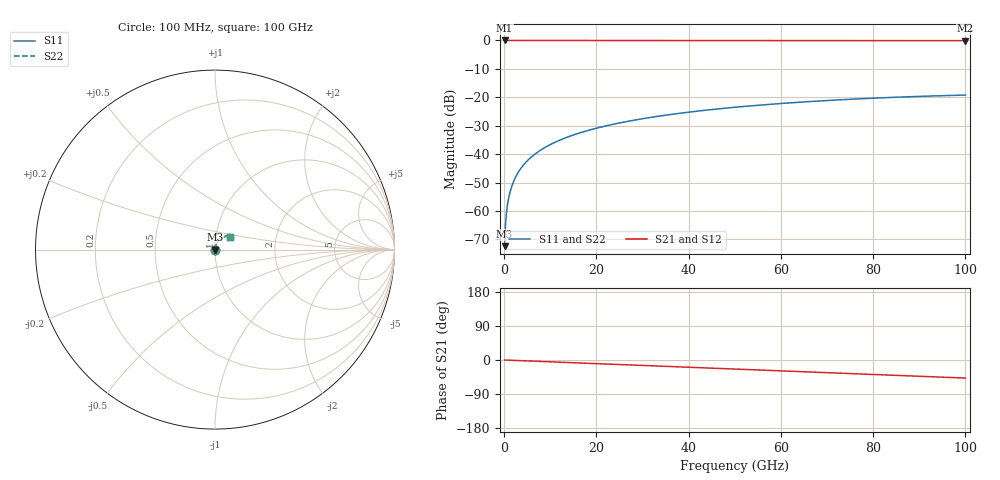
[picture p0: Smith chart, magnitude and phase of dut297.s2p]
! Touchstone file exported from HFSS 2026.1.0
!  File:  C:/ffzhzh/LocalFiles/Ansys_Project_Files/temp_train_TSV_297_1783509122_44152.aedt
!  Generated:  07:13:17 PM Jul  8, 2026
!  Design:  TSV
!  Project:  temp_train_TSV_297_1783509122_44152
! Variables:
!  h_bsmrdl = 2um
!  h_ox = 20um
!  h_rdl = 5um
!  h_sub = 95.15um
!  h_tmrdl = 5um
!  h_tsv = 95.15um
!  h_via = 3um
!  l_bsmrdl = 300um
!  l_sub = 419.72um
!  l_tmrdl = 200um
!  m_sub = 200um
!  pitch = 49.14um
!  r_tsv = 9.86um
!  s_tmrdl = 10um
!  w_bsmrdl = 18um
!  w_sub = 500um
!  w_tmrdl = 12um
!  x_tsv_center1 = 206um
!  x_tsv_center2 = 524um
!  x_tsv_center3 = 736um
!  x_tsv_center4 = 1054um
!  x_tsv_center5 = 1266um
!  x_tsv_center6 = 1584um
# GHz S MA R 50.000000
! Terminal data exported
! Port[1] = TSV1_1_T1
! Port[2] = TSV1_1_T2
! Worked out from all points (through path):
!   1000 points, 100 MHz to 100 GHz, reference 50 ohm
!   highest |S21| = 0.00 dB at 100 MHz (marker M1); lowest = -0.1 dB at 100 GHz (marker M2)
!   group delay of S21, straight-line fit = 1.32 ps
!   lowest |S11| = -72.3 dB at 100 MHz (marker M3), VSWR 1.00, Z = 50 + j0.0192 ohm
!   |S11| at or under -10 dB: start of sweep to end of sweep
!   |S22| runs from -72.3 to -19.2 dB; largest |S21 - S12| = 8.1e-15
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0.1  0.0002413 52.5  0.9999 -0.1  0.9999 -0.1  0.0002413 52.5
! Gamma 0 0 0 0
! Port Impedance 50 0 50 0
0.3  0.0005897 72.0  0.9998 -0.2  0.9998 -0.2  0.0005897 72.0
0.7  0.001259 77.1  0.9997 -0.3  0.9997 -0.3  0.001259 77.1
0.8  0.001417 77.7  0.9997 -0.4  0.9997 -0.4  0.001417 77.7
1  0.001727 78.6  0.9997 -0.5  0.9997 -0.5  0.001727 78.6
1.3  0.002186 79.5  0.9996 -0.6  0.9996 -0.6  0.002186 79.5
1.8  0.002941 80.6  0.9996 -0.9  0.9996 -0.9  0.002941 80.6
2.3  0.003689 81.2  0.9995 -1.1  0.9995 -1.1  0.003689 81.2
3  0.004723 81.7  0.9994 -1.5  0.9994 -1.5  0.004723 81.7
3.8  0.005892 81.9  0.9993 -1.8  0.9993 -1.8  0.005892 81.9
4.8  0.007339 82.1  0.9993 -2.3  0.9993 -2.3  0.007339 82.1
6  0.009064 82.0  0.9992 -2.9  0.9992 -2.9  0.009064 82.0
8.8  0.01306 81.5  0.9989 -4.2  0.9989 -4.2  0.01306 81.5
12.4  0.01813 80.3  0.9987 -6.0  0.9987 -6.0  0.01813 80.3
16.8  0.02425 78.7  0.9983 -8.1  0.9983 -8.1  0.02425 78.7
24.2  0.03434 75.7  0.9978 -11.6  0.9978 -11.6  0.03434 75.7
33.4  0.04647 71.7  0.997 -16.0  0.997 -16.0  0.04647 71.7
41.2  0.05632 68.2  0.9963 -19.7  0.9963 -19.7  0.05631 68.2
50.1  0.06694 64.1  0.9954 -24.0  0.9954 -24.0  0.06694 64.1
66.7  0.08468 56.4  0.9937 -31.9  0.9937 -31.9  0.08468 56.5
83.4  0.09923 48.6  0.992 -39.8  0.992 -39.8  0.09923 48.7
100  0.1096 40.9  0.9905 -47.7  0.9905 -47.7  0.1096 41.0
